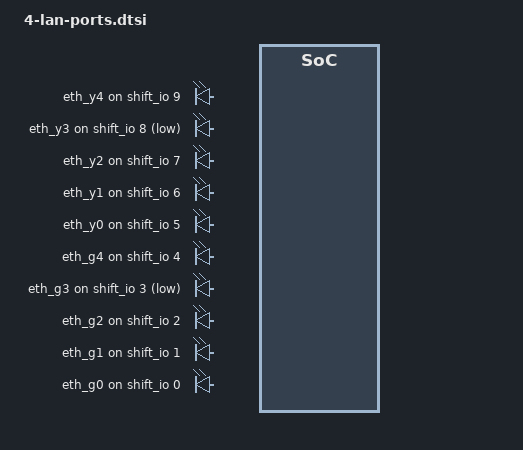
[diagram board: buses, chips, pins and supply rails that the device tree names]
/ {
	/* dtsi is for 4 LAN port devices + 1 WAN
	 * LAN+WAN port leds are controlled by shift register (default on most RUTMs)
	 * Green |0|1|2|3|4|
	 * Yellow |5|6|7|8|9|
	 */
	leds {
		compatible = "gpio-leds";

		led_eth_y4 {
			label = "eth_y4";
			gpios = <&shift_io 9 GPIO_ACTIVE_HIGH>;
		};

		led_eth_y3 {
			label = "eth_y3";
			gpios = <&shift_io 8 GPIO_ACTIVE_LOW>;
		};

		led_eth_y2 {
			label = "eth_y2";
			gpios = <&shift_io 7 GPIO_ACTIVE_HIGH>;
		};

		led_eth_y1 {
			label = "eth_y1";
			gpios = <&shift_io 6 GPIO_ACTIVE_HIGH>;
		};

		led_eth_y0 {
			label = "eth_y0";
			gpios = <&shift_io 5 GPIO_ACTIVE_HIGH>;
		};

		led_eth_g4 {
			label = "eth_g4";
			gpios = <&shift_io 4 GPIO_ACTIVE_HIGH>;
		};

		led_eth_g3 {
			label = "eth_g3";
			gpios = <&shift_io 3 GPIO_ACTIVE_LOW>;
		};

		led_eth_g2 {
			label = "eth_g2";
			gpios = <&shift_io 2 GPIO_ACTIVE_HIGH>;
		};

		led_eth_g1 {
			label = "eth_g1";
			gpios = <&shift_io 1 GPIO_ACTIVE_HIGH>;
		};

		led_eth_g0 {
			label = "eth_g0";
			gpios = <&shift_io 0 GPIO_ACTIVE_HIGH>;
		};
	};
};

&switch0 {
	ports {
		port@0 {
			status = "okay";
			label = "lan1";
		};

		port@1 {
			status = "okay";
			label = "lan2";
		};

		port@2 {
			status = "okay";
			label = "lan3";
		};

		port@3 {
			status = "okay";
			label = "lan4";
		};
	};
};
